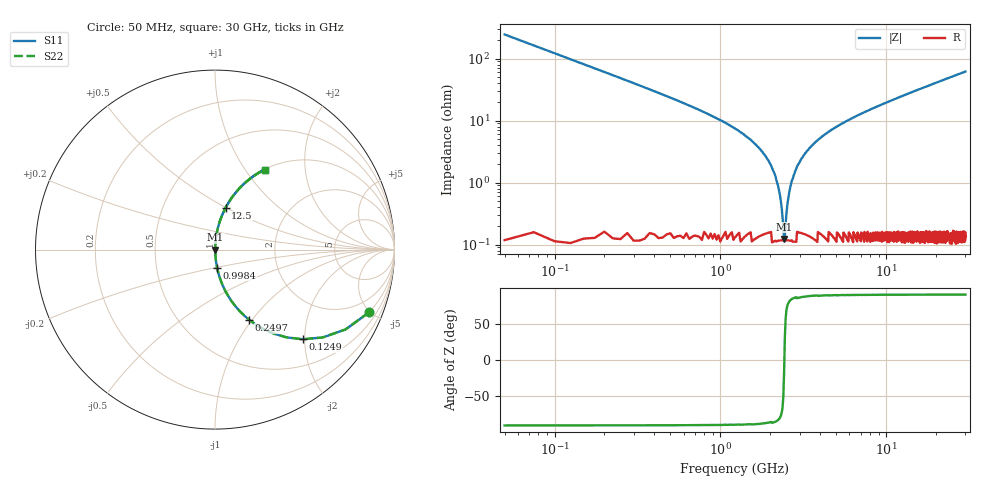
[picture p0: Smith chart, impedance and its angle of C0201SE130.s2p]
!	AVX Thin Film Operation 	Date: April 2014
!	Description: Accu-P® Series, Thin Film  SMD RF Capacitor
!	Part Number: 0201YK130FBSTR
# MHZ S MA R 50
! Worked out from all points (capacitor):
!   1201 points, 50 MHz to 30 GHz, reference 50 ohm
!   read as one part in series: C = 13 pF near 199.8 MHz
!   lowest |Z| = 123 mohm at 2.421 GHz (marker M1)
!   series resonance near 2.43 GHz, so ESL is about 330 pH
!   S11 on the Smith chart (normalised r, x): 50 MHz: 1.00, -4.90; 124.9 MHz: 1.00, -1.96; 249.7 MHz: 1.00, -0.97; 998.4 MHz: 1.00, -0.20; 12.5 GHz: 1.00, +0.50; 30 GHz: 1.00, +1.24
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50  0.926 -22.2  0.378 67.7  0.378 67.7  0.926 -22.2
124.875  0.699 -45.6  0.715 44.3  0.715 44.3  0.699 -45.6
249.667  0.436 -64.0  0.899 25.9  0.899 25.9  0.436 -64.0
474.292  0.241 -75.8  0.969 13.9  0.969 13.9  0.241 -75.8
998.417  0.101 -83.4  0.994 5.8  0.994 5.8  0.101 -83.4
1946.833  0.023 -85.3  0.998 1.3  0.998 1.3  0.023 -85.3
2146.5  0.013 -83.1  0.999 0.7  0.999 0.7  0.013 -83.1
2321.208  0.004801 -73.4  0.999 0.3  0.999 0.3  0.004801 -73.4
2421.042  0.001398 -15.3  0.999 0.0  0.999 0.0  0.001398 -15.3
2520.875  0.003937 69.8  0.999 -0.2  0.999 -0.2  0.003937 69.8
2670.625  0.009614 81.4  0.999 -0.5  0.999 -0.5  0.009614 81.4
2795.417  0.014 83.7  0.999 -0.8  0.999 -0.8  0.014 83.7
3194.75  0.028 85.6  0.998 -1.6  0.998 -1.6  0.028 85.6
3968.458  0.051 85.6  0.997 -2.9  0.997 -2.9  0.051 85.6
5041.667  0.08 84.5  0.995 -4.6  0.995 -4.6  0.08 84.5
7038.333  0.127 82.1  0.991 -7.3  0.991 -7.3  0.127 82.1
10058.29  0.192 78.5  0.98 -11.1  0.98 -11.1  0.192 78.5
12504.21  0.242 75.7  0.969 -14.0  0.969 -14.0  0.242 75.7
15025  0.29 72.9  0.956 -16.9  0.956 -16.9  0.29 72.9
20016.67  0.378 67.6  0.925 -22.2  0.925 -22.2  0.378 67.6
25033.29  0.457 62.7  0.888 -27.2  0.888 -27.2  0.457 62.7
30000  0.525 58.2  0.85 -31.7  0.85 -31.7  0.525 58.2
